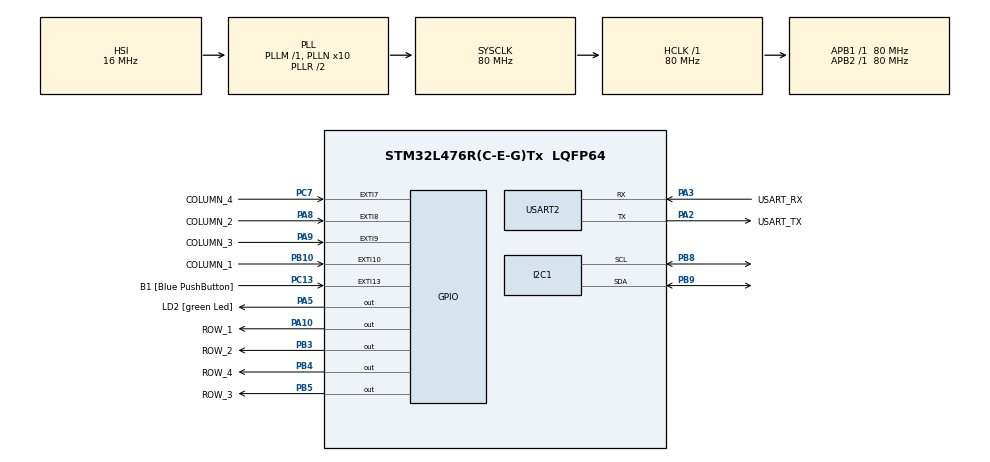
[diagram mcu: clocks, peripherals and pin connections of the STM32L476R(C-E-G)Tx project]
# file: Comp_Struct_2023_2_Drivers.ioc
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I2C1.Timing=0x10909CEC
Mcu.Family=STM32L4
Mcu.Name=STM32L476R(C-E-G)Tx
Mcu.Package=LQFP64
NVIC.EXTI15_10_IRQn=true\:0\:0\:false\:false\:true\:true\:true\:true
NVIC.EXTI9_5_IRQn=true\:0\:0\:false\:false\:true\:true\:true\:true
NVIC.PriorityGroup=NVIC_PRIORITYGROUP_4
NVIC.USART2_IRQn=true\:0\:0\:false\:false\:true\:true\:true\:true
PA10.GPIO_Label=ROW_1
PA10.Signal=GPIO_Output
PA13\ (JTMS-SWDIO).GPIO_Label=TMS
PA13\ (JTMS-SWDIO).Mode=Serial_Wire
PA13\ (JTMS-SWDIO).Signal=SYS_JTMS-SWDIO
PA14\ (JTCK-SWCLK).GPIO_Label=TCK
PA14\ (JTCK-SWCLK).Mode=Serial_Wire
PA14\ (JTCK-SWCLK).Signal=SYS_JTCK-SWCLK
PA2.GPIO_Label=USART_TX
PA2.GPIO_Mode=GPIO_MODE_AF_PP
PA2.GPIO_PuPd=GPIO_NOPULL
PA2.GPIO_Speed=GPIO_SPEED_FREQ_VERY_HIGH
PA2.Mode=Asynchronous
PA2.Signal=USART2_TX
PA3.GPIO_Label=USART_RX
PA3.GPIO_Mode=GPIO_MODE_AF_PP
PA3.GPIO_PuPd=GPIO_NOPULL
PA3.GPIO_Speed=GPIO_SPEED_FREQ_VERY_HIGH
PA3.Mode=Asynchronous
PA3.Signal=USART2_RX
PA5.GPIO_Label=LD2 [green Led]
PA5.GPIO_ModeDefaultOutputPP=GPIO_MODE_OUTPUT_PP
PA5.GPIO_PuPd=GPIO_NOPULL
PA5.GPIO_Speed=GPIO_SPEED_FREQ_LOW
PA5.Signal=GPIO_Output
PA8.GPIO_Label=COLUMN_2
PA8.GPIO_PuPd=GPIO_PULLDOWN
PA8.Signal=GPXTI8
PA9.GPIO_Label=COLUMN_3
PA9.GPIO_PuPd=GPIO_PULLDOWN
PA9.Signal=GPXTI9
PB10.GPIO_Label=COLUMN_1
PB10.GPIO_PuPd=GPIO_PULLDOWN
PB10.Signal=GPXTI10
PB3\ (JTDO-TRACESWO).GPIO_Label=ROW_2
PB3\ (JTDO-TRACESWO).Signal=GPIO_Output
PB4\ (NJTRST).GPIO_Label=ROW_4
PB4\ (NJTRST).Signal=GPIO_Output
PB5.GPIO_Label=ROW_3
PB5.Signal=GPIO_Output
PB8.Mode=I2C
PB8.Signal=I2C1_SCL
PB9.Mode=I2C
PB9.Signal=I2C1_SDA
PC13.GPIO_Label=B1 [Blue PushButton]
PC13.GPIO_ModeDefaultEXTI=GPIO_MODE_IT_FALLING
PC13.GPIO_PuPd=GPIO_NOPULL
PC13.Signal=GPXTI13
PC14-OSC32_IN\ (PC14).Mode=LSE-External-Oscillator
PC14-OSC32_IN\ (PC14).Signal=RCC_OSC32_IN
PC15-OSC32_OUT\ (PC15).Mode=LSE-External-Oscillator
PC15-OSC32_OUT\ (PC15).Signal=RCC_OSC32_OUT
PC7.GPIO_Label=COLUMN_4
PC7.GPIO_PuPd=GPIO_PULLDOWN
PC7.Signal=GPXTI7
PH0-OSC_IN\ (PH0).Signal=RCC_OSC_IN
PH1-OSC_OUT\ (PH1).Signal=RCC_OSC_OUT
ProjectManager.HeapSize=0x200
ProjectManager.StackSize=0x400
ProjectManager.TargetToolchain=STM32CubeIDE
RCC.ADCFreq_Value=64000000
RCC.AHBFreq_Value=80000000
RCC.APB1Freq_Value=80000000
RCC.APB1TimFreq_Value=80000000
RCC.APB2Freq_Value=80000000
RCC.APB2TimFreq_Value=80000000
RCC.CortexFreq_Value=80000000
RCC.HCLKFreq_Value=80000000
RCC.HSE_VALUE=8000000
RCC.HSI_VALUE=16000000
RCC.MSI_VALUE=4000000
RCC.PLLN=10
RCC.PLLSourceVirtual=RCC_PLLSOURCE_HSI
RCC.PREFETCH_ENABLE=1
RCC.SYSCLKFreq_VALUE=80000000
RCC.SYSCLKSource=RCC_SYSCLKSOURCE_PLLCLK
RCC.USBFreq_Value=64000000
RCC.VCOOutputFreq_Value=160000000
USART2.VirtualMode-Asynchronous=VM_ASYNC
board=NUCLEO-L476RG

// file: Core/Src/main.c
/* USER CODE BEGIN Header */
/**
  ******************************************************************************
  * @file           : main.c
  * @brief          : Main program body
  ******************************************************************************
  * @attention
  *
  * Copyright (c) 2023 STMicroelectronics.
  * All rights reserved.
  *
  * This software is licensed under terms that can be found in the LICENSE file
  * in the root directory of this software component.
  * If no LICENSE file comes with this software, it is provided AS-IS.
  *
  ******************************************************************************
  */
/* USER CODE END Header */
#include "main.h"

/* USER CODE BEGIN Includes */
#include <stdio.h>
#include "ring_buffer.h"
#include "ssd1306.h"
#include "ssd1306_fonts.h"
#include "string.h"

//#include "ssd1306.h"
//#include "ssd1306_fonts.h"
/* USER CODE END Includes */

I2C_HandleTypeDef hi2c1;

UART_HandleTypeDef huart2;

/* USER CODE BEGIN PV */
uint8_t rx_buffer[16];                             //A vector is defined to store the keyboard data
ring_buffer_t ring_buffer;						   //A variable is defined with the buffer ring structure to receive the data
uint8_t rx_data;								   //The variable is defined to receive the data
uint16_t key_event = 0xFF;						   //Defined to check if a keyboard interruption occurred
uint8_t birthyear[] = {0x01,0x09,0x09,0x09,0x0F};  //Variable defined to store the hexagesimal value of the year of birth
uint8_t Count;									   //To define variable as counter
uint8_t key_pressed;							   //To define variable to save the value of key pressed of keypad
/* USER CODE END PV */

void SystemClock_Config(void);
static void MX_GPIO_Init(void);
static void MX_USART2_UART_Init(void);
static void MX_I2C1_Init(void);

/* USER CODE BEGIN 0 */
int _write(int file, char *ptr, int len)
{
  HAL_UART_Transmit(&huart2, (uint8_t *) ptr, len, HAL_MAX_DELAY);
  return len;
}

/**
  * @brief  UART Interrupt line detection callback.
  * @param  huart to save the interruption event.
  * @retval None
  */
void HAL_UART_RxCpltCallback(UART_HandleTypeDef *huart)
{
	//rx_data = 50;
	ring_buffer_put(&ring_buffer, key_pressed);
	HAL_UART_Receive_IT(&huart2, &key_pressed, 1); //Recibir otro byte
}

/**
  * @brief  EXTI line detection callback.
  * @param  GPIO_Pin Specifies the port pin connected to corresponding EXTI line.
  * @retval None
  */
void HAL_GPIO_EXTI_Callback(uint16_t GPIO_Pin)
{
	key_event = GPIO_Pin;
}

int memcmp(const void *str1, const void *str2, size_t n);

/**
 * @brief This functions initialize the functionality of the keypad
 */
void keypad_init(void)
{
	/* Set the rows high to be detected in the columns by rising interrupt */
	ROW_1_GPIO_Port->BSRR = ROW_1_Pin;
	ROW_2_GPIO_Port->BSRR = ROW_2_Pin;
	ROW_3_GPIO_Port->BSRR = ROW_3_Pin;
	ROW_4_GPIO_Port->BSRR = ROW_4_Pin;
}

/**
 * @brief  This function debounces and identify keypad events.
 * @param  column_to_evaluate: the column where the event happened.
 * @retval 0xFF -> invalid key. [0x00 - 0x0F] -> valid key.
 */
uint8_t keypad_handler(uint16_t column_to_evaluate)
{
	uint8_t key_pressed = 0xFF; // Value to return

	/*** Debounce the key press (remove noise in the key) ***/
#define KEY_DEBOUNCE_MS 300 /*!> Minimum time required for since last press */
	static uint32_t last_pressed_tick = 0;
	if (HAL_GetTick() <= (last_pressed_tick + KEY_DEBOUNCE_MS)) {
		// less than KEY_DEBOUNCE_MS since last press. Probably noise
		return key_pressed; // return 0xFF
	}
	last_pressed_tick = HAL_GetTick();

//	uint16_t column_1 = (COLUMN_1_GPIO_Port->IDR & COLUMN_1_Pin);
//	uint16_t column_2 = (COLUMN_2_GPIO_Port->IDR & COLUMN_2_Pin);
//	uint16_t column_3 = (COLUMN_3_GPIO_Port->IDR & COLUMN_3_Pin);
//	uint16_t column_4 = (COLUMN_4_GPIO_Port->IDR & COLUMN_4_Pin);
//	printf("Keys: %x, %x, %x, %x\r\n",
//			  column_1, column_2, column_3, column_4);

	switch(column_to_evaluate)
	{
	case COLUMN_1_Pin:
		ROW_1_GPIO_Port->BSRR = ROW_1_Pin;	//Turn on row 1
		ROW_2_GPIO_Port->BRR = ROW_2_Pin;	//Turn off row 2
		ROW_3_GPIO_Port->BRR = ROW_3_Pin;	//Turn off row 3
		ROW_4_GPIO_Port->BRR = ROW_4_Pin;	//Turn off row 4
		HAL_Delay(2);						//Wait 2 ms so that it does not detect voltage spikes
		if (COLUMN_1_GPIO_Port->IDR & COLUMN_1_Pin)
		{
			//If column 1 is detected and row 1 is high, this value is returned
			key_pressed = 0x01;
			break;
		}

		ROW_1_GPIO_Port->BRR = ROW_1_Pin;	//Turn off row 1
		ROW_2_GPIO_Port->BSRR = ROW_2_Pin;	//Turn on row 2
		HAL_Delay(2);						//Wait 2 ms so that it does not detect voltage spikes
		if (COLUMN_1_GPIO_Port->IDR & COLUMN_1_Pin)
		{
			//If column 1 is detected and row 2 is high, this value is returned
			key_pressed = 0x04;
			break;
		}

		ROW_2_GPIO_Port->BRR = ROW_2_Pin;	//Turn off row 2
		ROW_3_GPIO_Port->BSRR = ROW_3_Pin;	//Turn on row 3
		HAL_Delay(2);						//Wait 2 ms so that it does not detect voltage spikes
		if (COLUMN_1_GPIO_Port->IDR & COLUMN_1_Pin)
		{
			//If column 1 is detected and row 3 is high, this value is returned
			key_pressed = 0x07;
			break;
		}

		ROW_3_GPIO_Port->BRR = ROW_3_Pin;	//Turn off row 3
		ROW_4_GPIO_Port->BSRR = ROW_4_Pin;	//Turn on row 4
		HAL_Delay(2);						//Wait 2 ms so that it does not detect voltage spikes
		if (COLUMN_1_GPIO_Port->IDR & COLUMN_1_Pin)
		{
			//If column 1 is detected and row 4 is high, this value is returned
			key_pressed = 0x0E;
			break;
		}

	case COLUMN_2_Pin:
		ROW_1_GPIO_Port->BSRR = ROW_1_Pin;	//Turn on row 1
		ROW_2_GPIO_Port->BRR = ROW_2_Pin;	//Turn off row 2
		ROW_3_GPIO_Port->BRR = ROW_3_Pin;	//Turn off row 3
		ROW_4_GPIO_Port->BRR = ROW_4_Pin;	//Turn off row 4
		HAL_Delay(2);						//Wait 2 ms so that it does not detect voltage spikes
		if (COLUMN_2_GPIO_Port->IDR & COLUMN_2_Pin)
		{
			//If column 2 is detected and row 1 is high, this value is returned
			key_pressed = 0x02;
			break;
		}

		ROW_1_GPIO_Port->BRR = ROW_1_Pin;	//Turn off row 1
		ROW_2_GPIO_Port->BSRR = ROW_2_Pin;	//Turn on row 2
		HAL_Delay(2);						//Wait 2 ms so that it does not detect voltage spikes
		if (COLUMN_2_GPIO_Port->IDR & COLUMN_2_Pin)
		{
			//If column 2 is detected and row 2 is high, this value is returned
			key_pressed = 0x05;
			break;
		}

		ROW_2_GPIO_Port->BRR = ROW_2_Pin;	//Turn off row 2
		ROW_3_GPIO_Port->BSRR = ROW_3_Pin;	//Turn on row 3
		HAL_Delay(2);						//Wait 2 ms so that it does not detect voltage spikes
		if (COLUMN_2_GPIO_Port->IDR & COLUMN_2_Pin)
		{
			//If column 2 is detected and row 3 is high, this value is returned
			key_pressed = 0x08;
			break;
		}

		ROW_3_GPIO_Port->BRR = ROW_3_Pin;	//Turn off row 3
		ROW_4_GPIO_Port->BSRR = ROW_4_Pin;	//Turn on row 4
		HAL_Delay(2);						//Wait 2 ms so that it does not detect voltage spikes
		if (COLUMN_2_GPIO_Port->IDR & COLUMN_2_Pin)
		{
			//If column 2 is detected and row 4 is high, this value is returned
			key_pressed = 0x00;
			break;
		}

	case COLUMN_3_Pin:
		ROW_1_GPIO_Port->BSRR = ROW_1_Pin;	//Turn on row 1
		ROW_2_GPIO_Port->BRR = ROW_2_Pin;	//Turn off row 2
		ROW_3_GPIO_Port->BRR = ROW_3_Pin;	//Turn off row 3
		ROW_4_GPIO_Port->BRR = ROW_4_Pin;	//Turn off row 4
		HAL_Delay(2);						//Wait 2 ms so that it does not detect voltage spikes
		if (COLUMN_3_GPIO_Port->IDR & COLUMN_3_Pin)
		{
			//If column 3 is detected and row 1 is high, this value is returned
			key_pressed = 0x03;
			break;
		}

		ROW_1_GPIO_Port->BRR = ROW_1_Pin;	//Turn off row 1
		ROW_2_GPIO_Port->BSRR = ROW_2_Pin;	//Turn on row 2
		HAL_Delay(2);						//Wait 2 ms so that it does not detect voltage spikes
		if (COLUMN_3_GPIO_Port->IDR & COLUMN_3_Pin)
		{
			//If column 3 is detected and row 2 is high, this value is returned
			key_pressed = 0x06;
			break;
		}

		ROW_2_GPIO_Port->BRR = ROW_2_Pin;	//Turn off row 2
		ROW_3_GPIO_Port->BSRR = ROW_3_Pin;	//Turn on row 3
		HAL_Delay(2);						//Wait 2 ms so that it does not detect voltage spikes
		if (COLUMN_3_GPIO_Port->IDR & COLUMN_3_Pin)
		{
			//If column 3 is detected and row 3 is high, this value is returned
			key_pressed = 0x09;
			break;
		}

		ROW_3_GPIO_Port->BRR = ROW_3_Pin;	//Turn off row 3
		ROW_4_GPIO_Port->BSRR = ROW_4_Pin;	//Turn on row 4
		HAL_Delay(2);						//Wait 2 ms so that it does not detect voltage spikes
		if (COLUMN_3_GPIO_Port->IDR & COLUMN_3_Pin)
		{
			//If column 3 is detected and row 4 is high, this value is returned
			key_pressed = 0x0F;
			break;
		}

	case COLUMN_4_Pin:
		ROW_1_GPIO_Port->BSRR = ROW_1_Pin;	//Turn on row 1
		ROW_2_GPIO_Port->BRR = ROW_2_Pin;	//Turn off row 2
		ROW_3_GPIO_Port->BRR = ROW_3_Pin;	//Turn off row 3
		ROW_4_GPIO_Port->BRR = ROW_4_Pin;	//Turn off row 4
		HAL_Delay(2);						//Wait 2 ms so that it does not detect voltage spikes
		if (COLUMN_4_GPIO_Port->IDR & COLUMN_4_Pin)
		{
			//If column 4 is detected and row 1 is high, this value is returned
			key_pressed = 0x0A;
			break;
		}

		ROW_1_GPIO_Port->BRR = ROW_1_Pin;	//Turn off row 1
		ROW_2_GPIO_Port->BSRR = ROW_2_Pin;	//Turn on row 2
		HAL_Delay(2);						//Wait 2 ms so that it does not detect voltage spikes
		if (COLUMN_4_GPIO_Port->IDR & COLUMN_4_Pin)
		{
			//If column 4 is detected and row 2 is high, this value is returned
			key_pressed = 0x0B;
			break;
		}

		ROW_2_GPIO_Port->BRR = ROW_2_Pin;	//Turn off row 2
		ROW_3_GPIO_Port->BSRR = ROW_3_Pin;	//Turn on row 3
		HAL_Delay(2);						//Wait 2 ms so that it does not detect voltage spikes
		if (COLUMN_4_GPIO_Port->IDR & COLUMN_4_Pin)
		{
			//If column 4 is detected and row 4 is high, this value is returned
			key_pressed = 0x0C;
			break;
		}

		ROW_3_GPIO_Port->BRR = ROW_3_Pin;	//Turn off row 3
		ROW_4_GPIO_Port->BSRR = ROW_4_Pin;	//Turn on row 4
		HAL_Delay(2);						//Wait 2 ms so that it does not detect voltage spikes
		if (COLUMN_4_GPIO_Port->IDR & COLUMN_4_Pin)
		{
			//If column 4 is detected and row 4 is high, this value is returned
			key_pressed = 0x0D;
			break;
		}

	default:
		//If another value is detected, the default notice is printed
		printf("Unknown column: %x\r\n", column_to_evaluate);  // invalid: 0xFF, valid:[0x00-0x0F]
		break;
	}
	keypad_init(); // set the columns high again
	return key_pressed; //Return the value when using the fucntion
}

/* USER CODE END 0 */

int main(void)
{

  /* MCU Configuration--------------------------------------------------------*/

  /* Reset of all peripherals, Initializes the Flash interface and the Systick. */
  HAL_Init();

  /* Configure the system clock */
  SystemClock_Config();

  /* Initialize all configured peripherals */
  MX_GPIO_Init();
  MX_USART2_UART_Init();
  MX_I2C1_Init();
  /* USER CODE BEGIN 2 */

  keypad_init();
  ring_buffer_init (&ring_buffer, rx_buffer, 5);
  HAL_UART_Receive_IT(&huart2, &rx_data, 1);

//  ssd1306_Init();
//  ssd1306_Fill(White);
//  ssd1306_SetCursor(20, 20);
//  ssd1306_WriteString("Hello World!", Font_11x18, Black);
//  ssd1306_UpdateScreen();
  /* USER CODE END 2 */

  /* Infinite loop */
  /* USER CODE BEGIN WHILE */

  while (1)
  {
	  if (key_event != 0xFF)
	  {
		  uint8_t key_pressed = keypad_handler(key_event); // call the keypad handler
		  if (key_pressed != 0xFF)
		  {
			 printf("key pressed: %x\r\n", key_pressed);
			 ring_buffer_put(&ring_buffer, key_pressed);
		  }
		  key_event = 0xFF; // clean the event
		  Count++;

		  if (Count == 6)
		  {
			  printf("La secuencia guardada es %x, %x, %x, %x, %x \r\n",
					  rx_buffer[0], rx_buffer[1], rx_buffer[2], rx_buffer[3], rx_buffer[4]);
		      Count = 0; // Restart the counter
		  }

		  if (key_pressed == 0x0E)
		  {
		                // Reset the UART RX buffer, clear buffer to restart sequence, and update OLED screen
		      ring_buffer_reset(&ring_buffer);
		      memset(rx_buffer, '\0', sizeof(rx_buffer));
		      ssd1306_Fill(Black);
		      ssd1306_SetCursor(20, 20);
		      ssd1306_WriteString("WAIT", Font_16x26, White);
		      ssd1306_UpdateScreen();
	      }

		  if ((memcmp(rx_buffer, birthyear, 5) == 0) && (ring_buffer_is_full(&ring_buffer) == 1))
		  {
		                // Display 'PASS' message on the OLED screen if the password is correct
			  ssd1306_Fill(White);
		      ssd1306_SetCursor(20, 20);
		      ssd1306_WriteString("PASS", Font_16x26, Black);
	          ssd1306_UpdateScreen();
		  }

		  if ((memcmp(rx_buffer, birthyear, 5) != 0) && (ring_buffer_is_full(&ring_buffer) == 1))
		  {
		                // Display 'FAIL' message on the OLED screen if the password is incorrect
              ssd1306_Fill(Black);
              ssd1306_SetCursor(20, 20);
              ssd1306_WriteString("FAIL", Font_16x26, White);
              ssd1306_UpdateScreen();
	      }
	  }
//	  if(size != 0) //Solo si hay bytes en el buffer se ejecuta
//	  {
//		  uint8_t rx_array[size + 1];  //Arreglo auxiliar para los datos
//		  for (uint16_t idx = 0; idx < size; idx++) //Leer cada dato del ring_buffer en cada uno de los datos del arreglo auxiliar
//		  {
//			  ring_buffer_get(&ring_buffer_uart_rx, &rx_array[idx]);
//		  }
//		  rx_array[size] = 0;
//		  printf("Rec: %s\r\n", rx_array);
//	  }

    /* USER CODE END WHILE */

  }
 }

void SystemClock_Config(void)
{
  RCC_OscInitTypeDef RCC_OscInitStruct = {0};
  RCC_ClkInitTypeDef RCC_ClkInitStruct = {0};

  /** Configure the main internal regulator output voltage
  */
  if (HAL_PWREx_ControlVoltageScaling(PWR_REGULATOR_VOLTAGE_SCALE1) != HAL_OK)
  {
    Error_Handler();
  }

  /** Initializes the RCC Oscillators according to the specified parameters
  * in the RCC_OscInitTypeDef structure.
  */
  RCC_OscInitStruct.OscillatorType = RCC_OSCILLATORTYPE_HSI;
  RCC_OscInitStruct.HSIState = RCC_HSI_ON;
  RCC_OscInitStruct.HSICalibrationValue = RCC_HSICALIBRATION_DEFAULT;
  RCC_OscInitStruct.PLL.PLLState = RCC_PLL_ON;
  RCC_OscInitStruct.PLL.PLLSource = RCC_PLLSOURCE_HSI;
  RCC_OscInitStruct.PLL.PLLM = 1;
  RCC_OscInitStruct.PLL.PLLN = 10;
  RCC_OscInitStruct.PLL.PLLP = RCC_PLLP_DIV7;
  RCC_OscInitStruct.PLL.PLLQ = RCC_PLLQ_DIV2;
  RCC_OscInitStruct.PLL.PLLR = RCC_PLLR_DIV2;
  if (HAL_RCC_OscConfig(&RCC_OscInitStruct) != HAL_OK)
  {
    Error_Handler();
  }

  /** Initializes the CPU, AHB and APB buses clocks
  */
  RCC_ClkInitStruct.ClockType = RCC_CLOCKTYPE_HCLK|RCC_CLOCKTYPE_SYSCLK
                              |RCC_CLOCKTYPE_PCLK1|RCC_CLOCKTYPE_PCLK2;
  RCC_ClkInitStruct.SYSCLKSource = RCC_SYSCLKSOURCE_PLLCLK;
  RCC_ClkInitStruct.AHBCLKDivider = RCC_SYSCLK_DIV1;
  RCC_ClkInitStruct.APB1CLKDivider = RCC_HCLK_DIV1;
  RCC_ClkInitStruct.APB2CLKDivider = RCC_HCLK_DIV1;

  if (HAL_RCC_ClockConfig(&RCC_ClkInitStruct, FLASH_LATENCY_4) != HAL_OK)
  {
    Error_Handler();
  }
}

static void MX_I2C1_Init(void)
{

  /* USER CODE BEGIN I2C1_Init 0 */
//
  /* USER CODE END I2C1_Init 0 */

  /* USER CODE BEGIN I2C1_Init 1 */
//
  /* USER CODE END I2C1_Init 1 */
  hi2c1.Instance = I2C1;
  hi2c1.Init.Timing = 0x10909CEC;
  hi2c1.Init.OwnAddress1 = 0;
  hi2c1.Init.AddressingMode = I2C_ADDRESSINGMODE_7BIT;
  hi2c1.Init.DualAddressMode = I2C_DUALADDRESS_DISABLE;
  hi2c1.Init.OwnAddress2 = 0;
  hi2c1.Init.OwnAddress2Masks = I2C_OA2_NOMASK;
  hi2c1.Init.GeneralCallMode = I2C_GENERALCALL_DISABLE;
  hi2c1.Init.NoStretchMode = I2C_NOSTRETCH_DISABLE;
  if (HAL_I2C_Init(&hi2c1) != HAL_OK)
  {
    Error_Handler();
  }

  /** Configure Analogue filter
  */
  if (HAL_I2CEx_ConfigAnalogFilter(&hi2c1, I2C_ANALOGFILTER_ENABLE) != HAL_OK)
  {
    Error_Handler();
  }

  /** Configure Digital filter
  */
  if (HAL_I2CEx_ConfigDigitalFilter(&hi2c1, 0) != HAL_OK)
  {
    Error_Handler();
  }
  /* USER CODE BEGIN I2C1_Init 2 */
//
  /* USER CODE END I2C1_Init 2 */

}

static void MX_USART2_UART_Init(void)
{

  huart2.Instance = USART2;
  huart2.Init.BaudRate = 115200;
  huart2.Init.WordLength = UART_WORDLENGTH_8B;
  huart2.Init.StopBits = UART_STOPBITS_1;
  huart2.Init.Parity = UART_PARITY_NONE;
  huart2.Init.Mode = UART_MODE_TX_RX;
  huart2.Init.HwFlowCtl = UART_HWCONTROL_NONE;
  huart2.Init.OverSampling = UART_OVERSAMPLING_16;
  huart2.Init.OneBitSampling = UART_ONE_BIT_SAMPLE_DISABLE;
  huart2.AdvancedInit.AdvFeatureInit = UART_ADVFEATURE_NO_INIT;
  if (HAL_UART_Init(&huart2) != HAL_OK)
  {
    Error_Handler();
  }

}

static void MX_GPIO_Init(void)
{
  GPIO_InitTypeDef GPIO_InitStruct = {0};

  /* GPIO Ports Clock Enable */
  __HAL_RCC_GPIOC_CLK_ENABLE();
  __HAL_RCC_GPIOH_CLK_ENABLE();
  __HAL_RCC_GPIOA_CLK_ENABLE();
  __HAL_RCC_GPIOB_CLK_ENABLE();

  /*Configure GPIO pin Output Level */
  HAL_GPIO_WritePin(GPIOA, LD2_Pin|ROW_1_Pin, GPIO_PIN_RESET);

  /*Configure GPIO pin Output Level */
  HAL_GPIO_WritePin(GPIOB, ROW_2_Pin|ROW_4_Pin|ROW_3_Pin, GPIO_PIN_RESET);

  /*Configure GPIO pin : B1_Pin */
  GPIO_InitStruct.Pin = B1_Pin;
  GPIO_InitStruct.Mode = GPIO_MODE_IT_FALLING;
  GPIO_InitStruct.Pull = GPIO_NOPULL;
  HAL_GPIO_Init(B1_GPIO_Port, &GPIO_InitStruct);

  /*Configure GPIO pins : LD2_Pin ROW_1_Pin */
  GPIO_InitStruct.Pin = LD2_Pin|ROW_1_Pin;
  GPIO_InitStruct.Mode = GPIO_MODE_OUTPUT_PP;
  GPIO_InitStruct.Pull = GPIO_NOPULL;
  GPIO_InitStruct.Speed = GPIO_SPEED_FREQ_LOW;
  HAL_GPIO_Init(GPIOA, &GPIO_InitStruct);

  /*Configure GPIO pin : COLUMN_1_Pin */
  GPIO_InitStruct.Pin = COLUMN_1_Pin;
  GPIO_InitStruct.Mode = GPIO_MODE_IT_RISING;
  GPIO_InitStruct.Pull = GPIO_PULLDOWN;
  HAL_GPIO_Init(COLUMN_1_GPIO_Port, &GPIO_InitStruct);

  /*Configure GPIO pin : COLUMN_4_Pin */
  GPIO_InitStruct.Pin = COLUMN_4_Pin;
  GPIO_InitStruct.Mode = GPIO_MODE_IT_RISING;
  GPIO_InitStruct.Pull = GPIO_PULLDOWN;
  HAL_GPIO_Init(COLUMN_4_GPIO_Port, &GPIO_InitStruct);

  /*Configure GPIO pins : COLUMN_2_Pin COLUMN_3_Pin */
  GPIO_InitStruct.Pin = COLUMN_2_Pin|COLUMN_3_Pin;
  GPIO_InitStruct.Mode = GPIO_MODE_IT_RISING;
  GPIO_InitStruct.Pull = GPIO_PULLDOWN;
  HAL_GPIO_Init(GPIOA, &GPIO_InitStruct);

  /*Configure GPIO pins : ROW_2_Pin ROW_4_Pin ROW_3_Pin */
  GPIO_InitStruct.Pin = ROW_2_Pin|ROW_4_Pin|ROW_3_Pin;
  GPIO_InitStruct.Mode = GPIO_MODE_OUTPUT_PP;
  GPIO_InitStruct.Pull = GPIO_NOPULL;
  GPIO_InitStruct.Speed = GPIO_SPEED_FREQ_LOW;
  HAL_GPIO_Init(GPIOB, &GPIO_InitStruct);

  /* EXTI interrupt init*/
  HAL_NVIC_SetPriority(EXTI9_5_IRQn, 0, 0);
  HAL_NVIC_EnableIRQ(EXTI9_5_IRQn);

  HAL_NVIC_SetPriority(EXTI15_10_IRQn, 0, 0);
  HAL_NVIC_EnableIRQ(EXTI15_10_IRQn);

}

void Error_Handler(void)
{
  __disable_irq();
  while (1)
  {
  }
}
